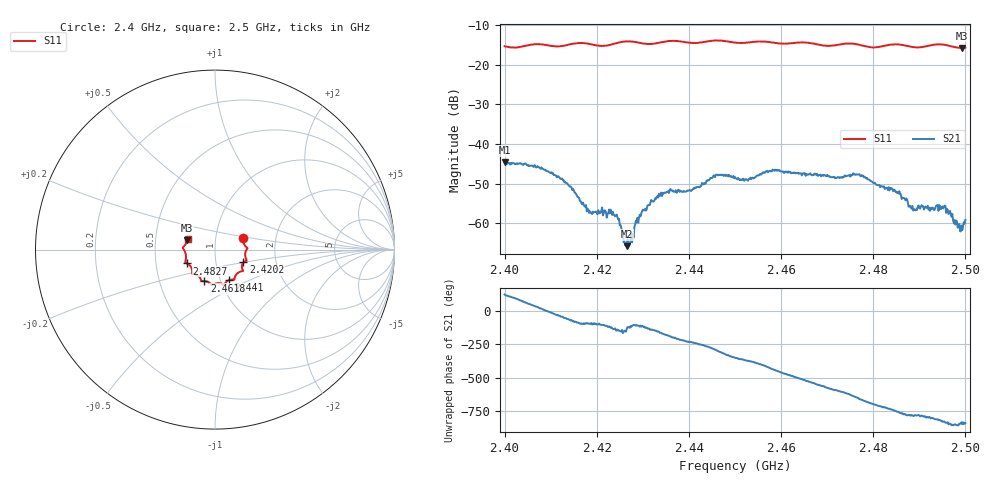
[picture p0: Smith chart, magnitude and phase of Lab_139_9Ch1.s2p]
# Hz S RI R 50
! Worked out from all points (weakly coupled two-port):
!   601 points, 2.4 GHz to 2.5 GHz, reference 50 ohm
!   highest |S21| = -44.61 dB at 2.4 GHz (marker M1); lowest = -65.8 dB at 2.4265 GHz (marker M2)
!   lowest |S11| = -15.8 dB at 2.4993 GHz (marker M3), VSWR 1.39, Z = 36.5 + j3.83 ohm
!   |S11| at or under -10 dB: start of sweep to end of sweep
!   S12 and S22 are empty: the file has one direction only
!   S11 on the Smith chart (normalised r, x): 2.4 GHz: 1.36, +0.18; 2.4202 GHz: 1.36, -0.20; 2.441 GHz: 1.10, -0.39; 2.4618 GHz: 0.84, -0.30; 2.4827 GHz: 0.72, -0.11; 2.5 GHz: 0.73, +0.09
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2.4e9  0.1585 0.0629  -0.00297 0.00507  0 0  0 0
2.41e9  0.1724 -0.00607  0.00419 -0.000955  0 0  0 0
2.414e9  0.1721 -0.0493  0.00125 -0.00269  0 0  0 0
2.416667e9  0.1771 -0.061  -0.000166 -0.00179  0 0  0 0
2.420167e9  0.1584 -0.0711  -0.000287 -0.00127  0 0  0 0
2.424e9  0.1514 -0.1065  -0.000808 -0.000918  0 0  0 0
2.4265e9  0.1566 -0.1188  -0.000373 -0.000354  0 0  0 0
2.4275e9  0.1547 -0.1196  -0.000371 -0.00064  0 0  0 0
2.429667e9  0.1398 -0.1232  -0.000654 -0.00117  0 0  0 0
2.433333e9  0.1113 -0.1509  -0.0019 -0.000901  0 0  0 0
2.441e9  0.0787 -0.1699  -0.00147 0.00235  0 0  0 0
2.445833e9  0.0501 -0.1953  0.00148 0.00381  0 0  0 0
2.45e9  0.0284 -0.1874  0.00377 0.000613  0 0  0 0
2.461833e9  -0.0592 -0.1752  -0.00224 -0.00378  0 0  0 0
2.466667e9  -0.0788 -0.1683  -0.00404 -0.000287  0 0  0 0
2.4765e9  -0.1274 -0.1275  0.00131 0.00391  0 0  0 0
2.482667e9  -0.156 -0.0772  0.00275 -0.000126  0 0  0 0
2.483333e9  -0.1603 -0.0751  0.0028 -0.000538  0 0  0 0
2.488667e9  -0.1611 -0.0415  0.000637 -0.0013  0 0  0 0
2.4955e9  -0.177 0.0146  -0.000543 -0.00158  0 0  0 0
2.499333e9  -0.1541 0.0511  -0.000481 -0.000663  0 0  0 0
2.5e9  -0.1521 0.0606  -0.000511 -0.000977  0 0  0 0
